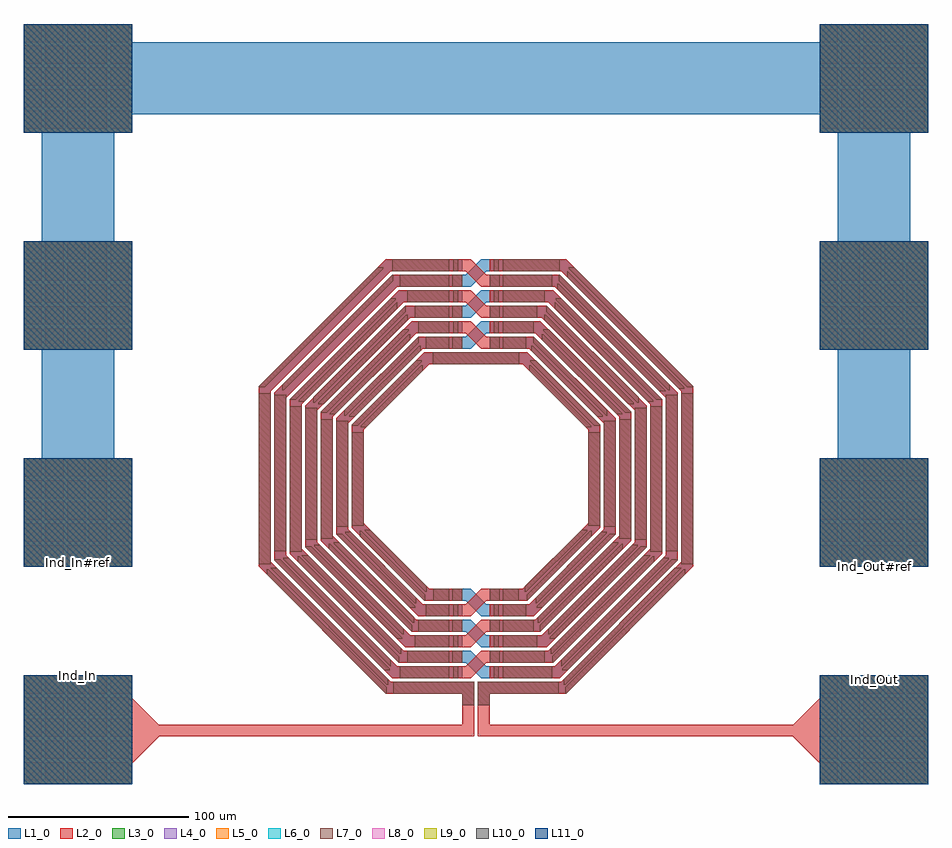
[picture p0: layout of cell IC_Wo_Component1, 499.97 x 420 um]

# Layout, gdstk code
import gdstk
lib = gdstk.Library(unit=1e-6, precision=1e-09)
def R(c, l, rs):  # rectangles x0, y0, x1, y1
    for r in rs: c.add(gdstk.rectangle(r[:2], r[2:], *l))
def A(c, l, x, y, w, h, nx, ny, dx, dy):  # array of equal rectangles
    R(c, l, [(x+i*dx, y+j*dy, x+i*dx+w, y+j*dy+h) for i in range(nx) for j in range(ny)])
def P(c, l, *ps):  # polygons
    for p in ps: c.add(gdstk.Polygon(p, *l))
L1_0 = (1, 0)
L2_0 = (2, 0)
L3_0 = (3, 0)
L4_0 = (4, 0)
L5_0 = (5, 0)
L6_0 = (6, 0)
L7_0 = (7, 0)
L8_0 = (8, 0)
L9_0 = (9, 0)
L10_0 = (10, 0)
L11_0 = (11, 0)

ic_wo_component1 = lib.new_cell('IC_Wo_Component1')
A(ic_wo_component1, L1_0, -249.945, -170, 60, 60, 1, 4, 0, 120)
A(ic_wo_component1, L1_0, 190, -170, 60, 60, 1, 4, 0, 120)
A(ic_wo_component1, L1_0, -14.12, -111.44, 6.56, 6.56, 1, 6, 0, 8.56)
A(ic_wo_component1, L1_0, 7.56, -111.44, 6.56, 6.56, 1, 6, 0, 8.56)
A(ic_wo_component1, L1_0, -14.12, 70.64, 6.56, 6.56, 1, 6, 0, 8.56)
A(ic_wo_component1, L1_0, 7.56, 70.64, 6.56, 6.56, 1, 6, 0, 8.56)
R(ic_wo_component1, L1_0, [(-247.795,-167.85,-192.095,-112.15), (-247.795,-167.85,-192.095,-112.15), (192.15,-167.85,247.85,-112.15), (192.15,-167.85,247.85,-112.15), (-7.64,-126.56,-1.08,-120), (-7.64,-126.56,-1.08,-120), (1.08,-126.56,7.64,-120), (1.08,-126.56,7.64,-120), (-7.64,-120,-1.08,-113.44), (-7.64,-120,-1.08,-113.44), (1.08,-120,7.64,-113.44), (1.08,-120,7.64,-113.44), (-247.795,-47.85,-192.095,7.85), (-247.795,-47.85,-192.095,7.85), (192.15,-47.85,247.85,7.85), (192.15,-47.85,247.85,7.85), (-240,-40,-200,220), (200,-40,240,220), (-247.795,72.15,-192.095,127.85), (-247.795,72.15,-192.095,127.85), (192.15,72.15,247.85,127.85), (192.15,72.15,247.85,127.85), (-247.795,192.15,-192.095,247.85), (-247.795,192.15,-192.095,247.85), (192.15,192.15,247.85,247.85), (192.15,192.15,247.85,247.85), (-240,200,240,240)])
P(ic_wo_component1, L1_0, [(-28.47,-68.64),(-14.12,-68.64),(-14.12,-62.08),(-25.77,-62.08),(-62.08,-25.77),(-62.08,25.77),(-25.77,62.08),(0,62.08),(0,68.64),(-28.47,68.64),(-68.64,28.47),(-68.64,-28.47)],
  [(2.93,-77.2),(7.56,-77.2),(7.56,-70.64),(5.63,-70.64),(-2.93,-62.08),(-7.56,-62.08),(-7.56,-68.64),(-5.63,-68.64)],
  [(14.12,-77.2),(32.03,-77.2),(77.2,-32.03),(77.2,32.03),(32.03,77.2),(14.12,77.2),(14.12,70.64),(29.33,70.64),(70.64,29.33),(70.64,-29.33),(29.33,-70.64),(14.12,-70.64)],
  [(-35.58,-85.76),(-14.12,-85.76),(-14.12,-79.2),(-32.88,-79.2),(-79.2,-32.88),(-79.2,32.88),(-32.88,79.2),(-14.12,79.2),(-14.12,85.76),(-35.58,85.76),(-85.76,35.58),(-85.76,-35.58)],
  [(2.93,-94.32),(7.56,-94.32),(7.56,-87.76),(5.63,-87.76),(-2.93,-79.2),(-7.56,-79.2),(-7.56,-85.76),(-5.63,-85.76)],
  [(14.12,-94.32),(39.13,-94.32),(94.32,-39.13),(94.32,39.13),(39.13,94.32),(14.12,94.32),(14.12,87.76),(36.43,87.76),(87.76,36.43),(87.76,-36.43),(36.43,-87.76),(14.12,-87.76)],
  [(-42.68,-102.88),(-14.12,-102.88),(-14.12,-96.32),(-39.98,-96.32),(-96.32,-39.98),(-96.32,39.98),(-39.98,96.32),(-14.12,96.32),(-14.12,102.88),(-42.68,102.88),(-102.88,42.68),(-102.88,-42.68)],
  [(2.93,-111.44),(7.56,-111.44),(7.56,-104.88),(5.63,-104.88),(-2.93,-96.32),(-7.56,-96.32),(-7.56,-102.88),(-5.63,-102.88)],
  [(14.12,-111.44),(46.24,-111.44),(111.44,-46.24),(111.44,46.24),(46.24,111.44),(14.12,111.44),(14.12,104.88),(43.54,104.88),(104.88,43.54),(104.88,-43.54),(43.54,-104.88),(14.12,-104.88)],
  [(-49.79,-120),(-7.64,-120),(-7.64,-113.44),(-47.09,-113.44),(-113.44,-47.09),(-113.44,47.09),(-47.09,113.44),(-14.12,113.44),(-14.12,120),(-49.79,120),(-120,49.79),(-120,-49.79)],
  [(14.12,-68.64),(28.47,-68.64),(68.64,-28.47),(68.64,28.47),(28.47,68.64),(0,68.64),(0,62.08),(25.77,62.08),(62.08,25.77),(62.08,-25.77),(25.77,-62.08),(14.12,-62.08)],
  [(-32.03,-77.2),(-14.12,-77.2),(-14.12,-70.64),(-29.33,-70.64),(-70.64,-29.33),(-70.64,29.33),(-29.33,70.64),(-14.12,70.64),(-14.12,77.2),(-32.03,77.2),(-77.2,32.03),(-77.2,-32.03)],
  [(-7.56,70.64),(-2.93,70.64),(5.63,79.2),(7.56,79.2),(7.56,85.76),(2.93,85.76),(-5.63,77.2),(-7.56,77.2)],
  [(14.12,-85.76),(35.58,-85.76),(85.76,-35.58),(85.76,35.58),(35.58,85.76),(14.12,85.76),(14.12,79.2),(32.88,79.2),(79.2,32.88),(79.2,-32.88),(32.88,-79.2),(14.12,-79.2)],
  [(-39.13,-94.32),(-14.12,-94.32),(-14.12,-87.76),(-36.43,-87.76),(-87.76,-36.43),(-87.76,36.43),(-36.43,87.76),(-14.12,87.76),(-14.12,94.32),(-39.13,94.32),(-94.32,39.13),(-94.32,-39.13)],
  [(-7.56,87.76),(-2.93,87.76),(5.63,96.32),(7.56,96.32),(7.56,102.88),(2.93,102.88),(-5.63,94.32),(-7.56,94.32)],
  [(14.12,-102.88),(42.68,-102.88),(102.88,-42.68),(102.88,42.68),(42.68,102.88),(14.12,102.88),(14.12,96.32),(39.98,96.32),(96.32,39.98),(96.32,-39.98),(39.98,-96.32),(14.12,-96.32)],
  [(-46.24,-111.44),(-14.12,-111.44),(-14.12,-104.88),(-43.54,-104.88),(-104.88,-43.54),(-104.88,43.54),(-43.54,104.88),(-14.12,104.88),(-14.12,111.44),(-46.24,111.44),(-111.44,46.24),(-111.44,-46.24)],
  [(-7.56,104.88),(-2.93,104.88),(5.63,113.44),(7.56,113.44),(7.56,120),(2.93,120),(-5.63,111.44),(-7.56,111.44)],
  [(7.64,-120),(49.79,-120),(120,-49.79),(120,49.79),(49.79,120),(14.12,120),(14.12,113.44),(47.09,113.44),(113.44,47.09),(113.44,-47.09),(47.09,-113.44),(7.64,-113.44)])
A(ic_wo_component1, L2_0, -249.945, -170, 60, 60, 1, 4, 0, 120)
A(ic_wo_component1, L2_0, 190, -170, 60, 60, 1, 4, 0, 120)
A(ic_wo_component1, L2_0, -247.795, -167.85, 55.7, 55.7, 1, 4, 0, 120)
A(ic_wo_component1, L2_0, 192.15, -167.85, 55.7, 55.7, 1, 4, 0, 120)
A(ic_wo_component1, L2_0, -14.12, -111.44, 6.56, 6.56, 1, 6, 0, 8.56)
A(ic_wo_component1, L2_0, 7.56, -111.44, 6.56, 6.56, 1, 6, 0, 8.56)
A(ic_wo_component1, L2_0, -14.12, 70.64, 6.56, 6.56, 1, 6, 0, 8.56)
A(ic_wo_component1, L2_0, 7.56, 70.64, 6.56, 6.56, 1, 6, 0, 8.56)
R(ic_wo_component1, L2_0, [(-7.64,-126.56,-1.08,-120), (-7.64,-126.56,-1.08,-120), (1.08,-126.56,7.64,-120), (1.08,-126.56,7.64,-120), (-7.64,-120.1,-1.08,-120), (1.08,-120.1,7.64,-120), (-7.64,-120,-1.08,-113.44), (-7.64,-120,-1.08,-113.44), (1.08,-120,7.64,-113.44), (1.08,-120,7.64,-113.44)])
P(ic_wo_component1, L2_0, [(192.15,-160.65),(192.15,-140.485),(171.985,-140.485)],
  [(171.985,-140.485),(192.15,-140.485),(192.15,-120.32)],
  [(-192.12,-160.65),(-171.955,-140.485),(-192.12,-140.485)],
  [(-192.12,-140.485),(-171.955,-140.485),(-192.12,-120.32)],
  [(-28.47,-68.64),(-14.12,-68.64),(-14.12,-62.08),(-25.77,-62.08),(-62.08,-25.77),(-62.08,25.77),(-25.77,62.08),(0,62.08),(0,68.64),(-28.47,68.64),(-68.64,28.47),(-68.64,-28.47)],
  [(14.12,-77.2),(32.03,-77.2),(77.2,-32.03),(77.2,32.03),(32.03,77.2),(14.12,77.2),(14.12,70.64),(29.33,70.64),(70.64,29.33),(70.64,-29.33),(29.33,-70.64),(14.12,-70.64)],
  [(2.93,70.64),(7.56,70.64),(7.56,77.2),(5.63,77.2),(-2.93,85.76),(-7.56,85.76),(-7.56,79.2),(-5.63,79.2)],
  [(-35.58,-85.76),(-14.12,-85.76),(-14.12,-79.2),(-32.88,-79.2),(-79.2,-32.88),(-79.2,32.88),(-32.88,79.2),(-14.12,79.2),(-14.12,85.76),(-35.58,85.76),(-85.76,35.58),(-85.76,-35.58)],
  [(14.12,-94.32),(39.13,-94.32),(94.32,-39.13),(94.32,39.13),(39.13,94.32),(14.12,94.32),(14.12,87.76),(36.43,87.76),(87.76,36.43),(87.76,-36.43),(36.43,-87.76),(14.12,-87.76)],
  [(2.93,87.76),(7.56,87.76),(7.56,94.32),(5.63,94.32),(-2.93,102.88),(-7.56,102.88),(-7.56,96.32),(-5.63,96.32)],
  [(-42.68,-102.88),(-14.12,-102.88),(-14.12,-96.32),(-39.98,-96.32),(-96.32,-39.98),(-96.32,39.98),(-39.98,96.32),(-14.12,96.32),(-14.12,102.88),(-42.68,102.88),(-102.88,42.68),(-102.88,-42.68)],
  [(14.12,-111.44),(46.24,-111.44),(111.44,-46.24),(111.44,46.24),(46.24,111.44),(14.12,111.44),(14.12,104.88),(43.54,104.88),(104.88,43.54),(104.88,-43.54),(43.54,-104.88),(14.12,-104.88)],
  [(2.93,104.88),(7.56,104.88),(7.56,111.44),(5.63,111.44),(-2.93,120),(-7.56,120),(-7.56,113.44),(-5.63,113.44)],
  [(-49.79,-120),(-7.64,-120),(-7.64,-113.44),(-47.09,-113.44),(-113.44,-47.09),(-113.44,47.09),(-47.09,113.44),(-14.12,113.44),(-14.12,120),(-49.79,120),(-120,49.79),(-120,-49.79)],
  [(14.12,-68.64),(28.47,-68.64),(68.64,-28.47),(68.64,28.47),(28.47,68.64),(0,68.64),(0,62.08),(25.77,62.08),(62.08,25.77),(62.08,-25.77),(25.77,-62.08),(14.12,-62.08)],
  [(-7.56,-77.2),(-2.93,-77.2),(5.63,-68.64),(7.56,-68.64),(7.56,-62.08),(2.93,-62.08),(-5.63,-70.64),(-7.56,-70.64)],
  [(-32.03,-77.2),(-14.12,-77.2),(-14.12,-70.64),(-29.33,-70.64),(-70.64,-29.33),(-70.64,29.33),(-29.33,70.64),(-14.12,70.64),(-14.12,77.2),(-32.03,77.2),(-77.2,32.03),(-77.2,-32.03)],
  [(14.12,-85.76),(35.58,-85.76),(85.76,-35.58),(85.76,35.58),(35.58,85.76),(14.12,85.76),(14.12,79.2),(32.88,79.2),(79.2,32.88),(79.2,-32.88),(32.88,-79.2),(14.12,-79.2)],
  [(-7.56,-94.32),(-2.93,-94.32),(5.63,-85.76),(7.56,-85.76),(7.56,-79.2),(2.93,-79.2),(-5.63,-87.76),(-7.56,-87.76)],
  [(-39.13,-94.32),(-14.12,-94.32),(-14.12,-87.76),(-36.43,-87.76),(-87.76,-36.43),(-87.76,36.43),(-36.43,87.76),(-14.12,87.76),(-14.12,94.32),(-39.13,94.32),(-94.32,39.13),(-94.32,-39.13)],
  [(14.12,-102.88),(42.68,-102.88),(102.88,-42.68),(102.88,42.68),(42.68,102.88),(14.12,102.88),(14.12,96.32),(39.98,96.32),(96.32,39.98),(96.32,-39.98),(39.98,-96.32),(14.12,-96.32)],
  [(-7.56,-111.44),(-2.93,-111.44),(5.63,-102.88),(7.56,-102.88),(7.56,-96.32),(2.93,-96.32),(-5.63,-104.88),(-7.56,-104.88)],
  [(-46.24,-111.44),(-14.12,-111.44),(-14.12,-104.88),(-43.54,-104.88),(-104.88,-43.54),(-104.88,43.54),(-43.54,104.88),(-14.12,104.88),(-14.12,111.44),(-46.24,111.44),(-111.44,46.24),(-111.44,-46.24)],
  [(7.64,-120),(49.79,-120),(120,-49.79),(120,49.79),(49.79,120),(14.12,120),(14.12,113.44),(47.09,113.44),(113.44,47.09),(113.44,-47.09),(47.09,-113.44),(7.64,-113.44)])
A(ic_wo_component1, L3_0, -249.945, -170, 60, 60, 1, 4, 0, 120)
A(ic_wo_component1, L3_0, 190, -170, 60, 60, 1, 4, 0, 120)
R(ic_wo_component1, L3_0, [(-247.795,-167.85,-192.095,-112.15), (-247.795,-167.85,-192.095,-112.15), (192.15,-167.85,247.85,-112.15), (192.15,-167.85,247.85,-112.15), (-247.795,-47.85,-192.095,7.85), (-247.795,-47.85,-192.095,7.85), (192.15,-47.85,247.85,7.85), (192.15,-47.85,247.85,7.85), (-247.795,72.15,-192.095,127.85), (-247.795,72.15,-192.095,127.85), (192.15,72.15,247.85,127.85), (192.15,72.15,247.85,127.85), (-247.795,192.15,-192.095,247.85), (-247.795,192.15,-192.095,247.85), (192.15,192.15,247.85,247.85), (192.15,192.15,247.85,247.85)])
A(ic_wo_component1, L4_0, -249.945, -170, 60, 60, 1, 4, 0, 120)
A(ic_wo_component1, L4_0, 190, -170, 60, 60, 1, 4, 0, 120)
R(ic_wo_component1, L4_0, [(-247.795,-167.85,-192.095,-112.15), (-247.795,-167.85,-192.095,-112.15), (192.15,-167.85,247.85,-112.15), (192.15,-167.85,247.85,-112.15), (-247.795,-47.85,-192.095,7.85), (-247.795,-47.85,-192.095,7.85), (192.15,-47.85,247.85,7.85), (192.15,-47.85,247.85,7.85), (-247.795,72.15,-192.095,127.85), (-247.795,72.15,-192.095,127.85), (192.15,72.15,247.85,127.85), (192.15,72.15,247.85,127.85), (-247.795,192.15,-192.095,247.85), (-247.795,192.15,-192.095,247.85), (192.15,192.15,247.85,247.85), (192.15,192.15,247.85,247.85)])
A(ic_wo_component1, L5_0, -249.945, -170, 60, 60, 1, 4, 0, 120)
A(ic_wo_component1, L5_0, 190, -170, 60, 60, 1, 4, 0, 120)
R(ic_wo_component1, L5_0, [(-247.795,-167.85,-192.095,-112.15), (-247.795,-167.85,-192.095,-112.15), (192.15,-167.85,247.85,-112.15), (192.15,-167.85,247.85,-112.15), (-247.795,-47.85,-192.095,7.85), (-247.795,-47.85,-192.095,7.85), (192.15,-47.85,247.85,7.85), (192.15,-47.85,247.85,7.85), (-247.795,72.15,-192.095,127.85), (-247.795,72.15,-192.095,127.85), (192.15,72.15,247.85,127.85), (192.15,72.15,247.85,127.85), (-247.795,192.15,-192.095,247.85), (-247.795,192.15,-192.095,247.85), (192.15,192.15,247.85,247.85), (192.15,192.15,247.85,247.85)])
A(ic_wo_component1, L6_0, -249.945, -170, 60, 60, 1, 4, 0, 120)
A(ic_wo_component1, L6_0, 190, -170, 60, 60, 1, 4, 0, 120)
A(ic_wo_component1, L6_0, -247.795, -167.85, 55.7, 55.7, 1, 4, 0, 120)
A(ic_wo_component1, L6_0, 192.15, -167.85, 55.7, 55.7, 1, 4, 0, 120)
A(ic_wo_component1, L7_0, -249.945, -168, 10, 10, 5, 5, 12, 12)
A(ic_wo_component1, L7_0, 190, -168, 10, 10, 5, 5, 12, 12)
A(ic_wo_component1, L7_0, -12.54, -111.44, 2.8, 6.56, 1, 3, 0, 17.12)
A(ic_wo_component1, L7_0, 9.74, -111.44, 2.8, 6.56, 1, 3, 0, 17.12)
A(ic_wo_component1, L7_0, -13.14, -102.88, 5.58, 6.56, 1, 3, 0, 17.12)
A(ic_wo_component1, L7_0, 7.56, -102.88, 5.58, 6.56, 1, 3, 0, 17.12)
A(ic_wo_component1, L7_0, -249.945, -48, 10, 10, 5, 5, 12, 12)
A(ic_wo_component1, L7_0, 190, -48, 10, 10, 5, 5, 12, 12)
A(ic_wo_component1, L7_0, -13.14, 70.64, 5.58, 6.56, 1, 3, 0, 17.12)
A(ic_wo_component1, L7_0, 7.56, 70.64, 5.58, 6.56, 1, 3, 0, 17.12)
A(ic_wo_component1, L7_0, -249.945, 72, 10, 10, 5, 5, 12, 12)
A(ic_wo_component1, L7_0, 190, 72, 10, 10, 5, 5, 12, 12)
A(ic_wo_component1, L7_0, -12.54, 79.2, 2.8, 6.56, 1, 3, 0, 17.12)
A(ic_wo_component1, L7_0, 9.74, 79.2, 2.8, 6.56, 1, 3, 0, 17.12)
A(ic_wo_component1, L7_0, -249.972, 192, 10, 10, 1, 5, 0, 12)
A(ic_wo_component1, L7_0, -237.972, 192, 10, 10, 1, 5, 0, 12)
A(ic_wo_component1, L7_0, -225.973, 192, 10.001, 10, 1, 5, 0, 12)
A(ic_wo_component1, L7_0, -213.972, 192, 10, 10, 1, 5, 0, 12)
A(ic_wo_component1, L7_0, -201.972, 192, 10, 10, 1, 5, 0, 12)
A(ic_wo_component1, L7_0, 190, 192, 10, 10, 5, 5, 12, 12)
R(ic_wo_component1, L7_0, [(-42.08,-111.44,-14.76,-104.88), (14.76,-111.44,42.08,-104.88), (-38,-102.88,-14.76,-96.32), (14.76,-102.88,38,-96.32), (-33.92,-94.32,-14.76,-87.76), (14.76,-94.32,33.92,-87.76), (-31.88,-85.76,-14.76,-79.2), (14.76,-85.76,31.88,-79.2), (-27.8,-77.2,-14.76,-70.64), (14.76,-77.2,27.8,-70.64), (-23.72,-68.64,-14.76,-62.08), (14.76,-68.64,23.72,-62.08), (-120,-48.64,-113.44,46), (113.44,-48.64,120,46), (-102.88,-41.54,-96.32,38.82), (96.32,-41.54,102.88,38.82), (-111.44,-41.4,-104.88,45.08), (104.88,-41.4,111.44,45.08), (-94.32,-35.06,-87.76,37.98), (87.76,-35.06,94.32,37.98), (-85.76,-34.44,-79.2,31.64), (79.2,-34.44,85.76,31.64), (-77.2,-27.9,-70.64,30.88), (70.64,-27.9,77.2,30.88), (-68.64,-27.32,-62.08,24.48), (62.08,-27.32,68.64,24.48), (-23.88,62.08,23.88,68.64), (-27.8,70.64,-14.76,77.2), (14.76,70.64,27.8,77.2), (-31.88,79.2,-14.76,85.76), (14.76,79.2,31.88,85.76), (-33.92,87.76,-14.76,94.32), (14.76,87.76,33.92,94.32), (-38,96.32,-14.76,102.88), (14.76,96.32,38,102.88), (-42.08,104.88,-14.76,111.44), (14.76,104.88,42.08,111.44), (-46.16,113.44,-14.76,120), (14.76,113.44,46.16,120)])
P(ic_wo_component1, L7_0, [(-47.72,-107),(-47.72,-106.2),(-108.08,-45.84),(-111.44,-45.84),(-111.44,-46.24),(-50.68,-107)],
  [(-47.04,-104.88),(-47.04,-101.38),(-103.56,-44.86),(-106.52,-44.86),(-106.52,-45.66),(-47.3,-104.88)],
  [(-49.4,-120),(-49.4,-116.64),(-114.78,-51.26),(-115.58,-51.26),(-115.58,-54.21),(-49.79,-120)],
  [(-48.42,-115.08),(-48.42,-112.11),(-109.97,-50.56),(-113.44,-50.56),(-113.44,-50.86),(-49.22,-115.08)],
  [(-51.26,114.76),(-51.26,115.58),(-54.21,115.58),(-120,49.79),(-120,49.38),(-116.64,49.38)],
  [(-45.84,108.08),(-45.84,111.44),(-46.24,111.44),(-107,50.68),(-107,47.72),(-106.2,47.72)],
  [(-44.2,97.6),(-44.2,98.42),(-47.14,98.42),(-102.88,42.68),(-102.88,42.28),(-99.52,42.28)],
  [(-43.5,92.8),(-43.5,96.32),(-43.74,96.32),(-97.96,42.1),(-97.96,41.3),(-95,41.3)],
  [(-30.64,69.33),(-30.64,72.28),(-31.46,72.28),(-70.02,33.72),(-70.02,32.9),(-67.07,32.9)],
  [(-30.08,63.28),(-30.08,64.08),(-33.03,64.08),(-68.64,28.47),(-68.64,28.06),(-65.3,28.06)],
  [(-29.38,58.47),(-29.38,61.42),(-30.2,61.42),(-63.72,27.9),(-63.72,27.08),(-60.77,27.08)],
  [(-37.76,86.43),(-37.76,89.4),(-38.56,89.4),(-87.18,40.78),(-87.18,39.96),(-84.23,39.96)],
  [(-36.44,75.64),(-36.44,78.58),(-37.26,78.58),(-80.84,35),(-80.84,34.2),(-77.88,34.2)],
  [(-31.64,73.82),(-31.64,77.2),(-32.03,77.2),(-72.68,36.55),(-72.68,33.6),(-71.86,33.6)],
  [(-38.74,90.94),(-38.74,94.32),(-39.13,94.32),(-89.84,43.61),(-89.84,40.66),(-89.02,40.66)],
  [(-39.98,-87.18),(-39.98,-84.21),(-86.43,-37.76),(-89.4,-37.76),(-89.4,-38.56),(-40.78,-87.18)],
  [(-42.28,-102.88),(-42.28,-99.54),(-97.62,-44.2),(-98.42,-44.2),(-98.42,-47.14),(-42.68,-102.88)],
  [(-41.3,-97.96),(-41.3,-95),(-92.8,-43.5),(-96.32,-43.5),(-96.32,-43.76),(-42.12,-97.96)],
  [(-34.2,-80.84),(-34.2,-77.88),(-75.64,-36.44),(-78.6,-36.44),(-78.6,-37.26),(-35.02,-80.84)],
  [(-32.92,-70.02),(-32.92,-67.05),(-69.33,-30.64),(-72.28,-30.64),(-72.28,-31.46),(-33.72,-70.02)],
  [(-33.6,-72.68),(-33.6,-71.88),(-73.84,-31.64),(-77.2,-31.64),(-77.2,-32.03),(-36.55,-72.68)],
  [(-27.1,-63.72),(-27.1,-60.75),(-58.47,-29.38),(-61.44,-29.38),(-61.44,-30.18),(-27.9,-63.72)],
  [(-40.66,-89.84),(-40.66,-89.04),(-90.96,-38.74),(-94.32,-38.74),(-94.32,-39.13),(-43.61,-89.84)],
  [(-35.18,-85.76),(-35.18,-82.4),(-80.44,-37.14),(-81.26,-37.14),(-81.26,-40.08),(-35.58,-85.76)],
  [(-37.14,80.44),(-37.14,81.24),(-40.1,81.24),(-85.76,35.58),(-85.76,35.18),(-82.4,35.18)],
  [(-28.08,-68.64),(-28.08,-65.28),(-63.28,-30.08),(-64.1,-30.08),(-64.1,-33.01),(-28.47,-68.64)],
  [(68.64,28.06),(68.64,28.47),(33.03,64.08),(30.08,64.08),(30.08,63.26),(65.28,28.06)],
  [(72.66,33.6),(72.66,36.57),(32.03,77.2),(31.62,77.2),(31.62,73.84),(71.86,33.6)],
  [(63.72,27.08),(63.72,27.88),(30.18,61.42),(29.38,61.42),(29.38,58.47),(60.77,27.08)],
  [(85.76,35.18),(85.76,35.58),(40.1,81.24),(37.12,81.24),(37.12,80.44),(82.38,35.18)],
  [(70,32.9),(70,33.72),(31.44,72.28),(30.64,72.28),(30.64,69.33),(67.07,32.9)],
  [(64.08,-33.03),(64.08,-30.08),(63.28,-30.08),(28.06,-65.3),(28.06,-68.64),(28.47,-68.64)],
  [(72.28,-31.46),(72.28,-30.64),(69.33,-30.64),(32.9,-67.07),(32.9,-70.02),(33.72,-70.02)],
  [(77.2,-32.03),(77.2,-31.64),(73.82,-31.64),(33.6,-71.86),(33.6,-72.68),(36.55,-72.68)],
  [(81.24,-40.1),(81.24,-37.14),(80.44,-37.14),(35.18,-82.4),(35.18,-85.76),(35.58,-85.76)],
  [(61.42,-30.2),(61.42,-29.38),(58.47,-29.38),(27.08,-60.77),(27.08,-63.72),(27.9,-63.72)],
  [(80.84,34.2),(80.84,35),(37.26,78.58),(36.44,78.58),(36.44,75.64),(77.88,34.2)],
  [(78.58,-37.26),(78.58,-36.44),(75.64,-36.44),(34.2,-77.88),(34.2,-80.84),(35,-80.84)],
  [(89.4,-38.56),(89.4,-37.76),(86.43,-37.76),(39.96,-84.23),(39.96,-87.18),(40.78,-87.18)],
  [(94.32,-39.13),(94.32,-38.74),(90.94,-38.74),(40.66,-89.02),(40.66,-89.84),(43.61,-89.84)],
  [(98.42,-47.14),(98.42,-44.2),(97.6,-44.2),(42.28,-99.52),(42.28,-102.88),(42.68,-102.88)],
  [(115.58,-54.21),(115.58,-51.26),(114.76,-51.26),(49.38,-116.64),(49.38,-120),(49.79,-120)],
  [(106.52,-45.66),(106.52,-44.86),(103.56,-44.86),(47.02,-101.4),(47.02,-104.88),(47.3,-104.88)],
  [(111.44,-46.24),(111.44,-45.84),(108.08,-45.84),(47.72,-106.2),(47.72,-107),(50.68,-107)],
  [(96.32,-43.74),(96.32,-43.5),(92.8,-43.5),(41.3,-95),(41.3,-97.96),(42.1,-97.96)],
  [(89.82,40.66),(89.82,43.63),(39.13,94.32),(38.72,94.32),(38.72,90.96),(89.02,40.66)],
  [(87.18,39.96),(87.18,40.76),(38.54,89.4),(37.74,89.4),(37.74,86.45),(84.23,39.96)],
  [(107,47.72),(107,50.68),(46.24,111.44),(45.84,111.44),(45.84,108.06),(106.18,47.72)],
  [(115.08,48.4),(115.08,49.2),(50.84,113.44),(50.56,113.44),(50.56,109.97),(112.13,48.4)],
  [(120,49.38),(120,49.79),(54.21,115.58),(51.24,115.58),(51.24,114.78),(116.64,49.38)],
  [(102.88,42.28),(102.88,42.68),(47.14,98.42),(44.18,98.42),(44.18,97.62),(99.52,42.28)],
  [(97.96,41.3),(97.96,42.1),(43.74,96.32),(43.5,96.32),(43.5,92.8),(95,41.3)],
  [(113.44,-50.86),(113.44,-50.56),(109.97,-50.56),(48.4,-112.13),(48.4,-115.08),(49.22,-115.08)],
  [(104.88,47.02),(104.88,47.28),(45.64,106.52),(44.84,106.52),(44.84,103.58),(101.4,47.02)],
  [(45.8,-120),(45.8,-113.44),(1.08,-113.44),(1.08,-126.56),(7.64,-126.56),(7.64,-120)],
  [(-1.08,-126.56),(-1.08,-113.44),(-45.8,-113.44),(-45.8,-120),(-7.64,-120),(-7.64,-126.56)])
A(ic_wo_component1, L8_0, -249.945, -170, 60, 60, 1, 4, 0, 120)
A(ic_wo_component1, L8_0, 190, -170, 60, 60, 1, 4, 0, 120)
A(ic_wo_component1, L9_0, -249.945, -170, 60, 60, 1, 4, 0, 120)
A(ic_wo_component1, L9_0, 190, -170, 60, 60, 1, 4, 0, 120)
A(ic_wo_component1, L10_0, -249.945, -170, 60, 60, 1, 4, 0, 120)
A(ic_wo_component1, L10_0, 190, -170, 60, 60, 1, 4, 0, 120)
A(ic_wo_component1, L11_0, -249.945, -170, 60, 60, 1, 4, 0, 120)
A(ic_wo_component1, L11_0, 190, -170, 60, 60, 1, 4, 0, 120)
ic_wo_component1.add(gdstk.FlexPath([(1.05,-140.485),(189.905,-140.485)], 6.5, ends="flush", simple_path=True, layer=2, datatype=0))  # L2_0
ic_wo_component1.add(gdstk.FlexPath([(4.3,-126.545),(4.3,-143.735)], 6.5, ends="flush", simple_path=True, layer=2, datatype=0))  # L2_0
ic_wo_component1.add(gdstk.FlexPath([(-1.08,-140.485),(-189.935,-140.485)], 6.5, ends="flush", simple_path=True, layer=2, datatype=0))  # L2_0
ic_wo_component1.add(gdstk.FlexPath([(-4.33,-126.545),(-4.33,-143.735)], 6.5, ends="flush", simple_path=True, layer=2, datatype=0))  # L2_0
ic_wo_component1.add(gdstk.Label('Ind_In', (-219.945,-110.002), layer=2, texttype=0))
ic_wo_component1.add(gdstk.Label('Ind_In#ref', (-219.945,-47.848), layer=2, texttype=0))
ic_wo_component1.add(gdstk.Label('Ind_Out', (220,-112.152), layer=2, texttype=0))
ic_wo_component1.add(gdstk.Label('Ind_Out#ref', (220,-49.998), layer=2, texttype=0))

lib.write_gds('IC_Wo_Component1.gds')
